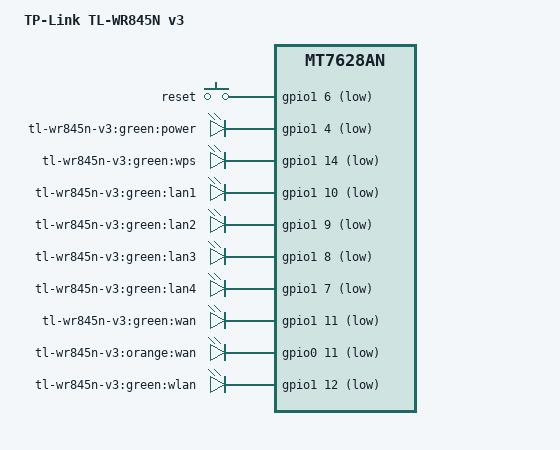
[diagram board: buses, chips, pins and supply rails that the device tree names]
/dts-v1/;

#include "TPLINK-8M.dtsi"

#include <dt-bindings/gpio/gpio.h>
#include <dt-bindings/input/input.h>

/ {
	compatible = "tplink,tl-wr845n-v3", "mediatek,mt7628an-soc";
	model = "TP-Link TL-WR845N v3";

	aliases {
		led-boot = &led_power;
		led-failsafe = &led_power;
		led-running = &led_power;
		led-upgrade = &led_power;
	};

	keys {
		compatible = "gpio-keys-polled";
		poll-interval = <20>;

		reset {
			label = "reset";
			gpios = <&gpio1 6 GPIO_ACTIVE_LOW>;
			linux,code = <KEY_RESTART>;
		};
	};

 	gpio-leds {
		compatible = "gpio-leds";
 		led_power: power {
			label = "tl-wr845n-v3:green:power";
			gpios = <&gpio1 4 GPIO_ACTIVE_LOW>;
		};
 		wps {
			label = "tl-wr845n-v3:green:wps";
			gpios = <&gpio1 14 GPIO_ACTIVE_LOW>;
		};
 		lan1 {
			label = "tl-wr845n-v3:green:lan1";
			gpios = <&gpio1 10 GPIO_ACTIVE_LOW>;
		};
 		lan2 {
			label = "tl-wr845n-v3:green:lan2";
			gpios = <&gpio1 9 GPIO_ACTIVE_LOW>;
		};
 		lan3 {
			label = "tl-wr845n-v3:green:lan3";
			gpios = <&gpio1 8 GPIO_ACTIVE_LOW>;
		};
 		lan4 {
			label = "tl-wr845n-v3:green:lan4";
			gpios = <&gpio1 7 GPIO_ACTIVE_LOW>;
		};
 		wan_green {
			label = "tl-wr845n-v3:green:wan";
			gpios = <&gpio1 11 GPIO_ACTIVE_LOW>;
		};
 		wan_orange {
			label = "tl-wr845n-v3:orange:wan";
			gpios = <&gpio0 11 GPIO_ACTIVE_LOW>;
		};
 		wlan {
			label = "tl-wr845n-v3:green:wlan";
			gpios = <&gpio1 12 GPIO_ACTIVE_LOW>;
		};
	};
};

 &pinctrl {
	state_default: pinctrl0 {
		gpio {
			ralink,group = "gpio", "p0led_an", "p1led_an", "p2led_an", "p3led_an", "p4led_an", "perst", "wled_an";
			ralink,function = "gpio";
		};
	};
};

&esw {
	mediatek,portmap = <0x3e>;
};
